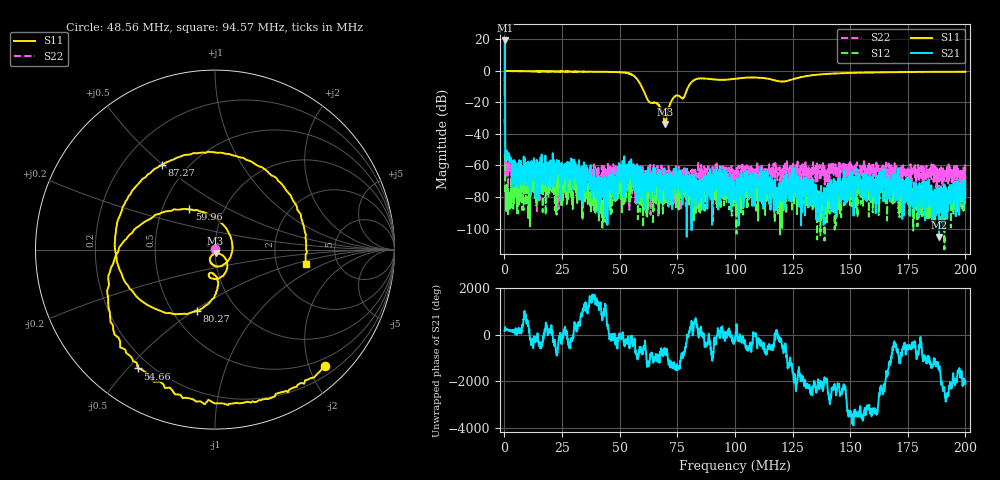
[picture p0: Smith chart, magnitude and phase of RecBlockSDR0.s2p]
! 19-Feb-26 2:09:13 PM
! E:\VNA_MEASUREMENTS\RECBLOCK\RECBLOCKSDR0.S2P
! CHANNEL.1
! TR.MEASUREMENT
! CORRECTED.DATA
# GHZ S RI R 50.0
! FREQ.GHZ  S11RE  S11IM  S21RE  S21IM  S12RE  S12IM  S22RE  S22IM
!; PortSelection: Port_12
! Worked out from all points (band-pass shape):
!   2000 points, 50 kHz to 200 MHz, reference 50 ohm
!   highest |S21| = 19.02 dB at 150 kHz (marker M1); lowest = -105.2 dB at 188.6 MHz (marker M2)
!   |S21| within 3 dB of the highest: 138.4 kHz to 159.9 kHz (21.57 kHz wide, 14.5 % of centre)
!   lowest |S11| = -33.8 dB at 69.77 MHz (marker M3), VSWR 1.04, Z = 50.3 - j2.03 ohm
!   |S11| at or under -10 dB: 70.41 kHz to 185.9 kHz (115.4 kHz wide, 90.1 % of centre); 59.49 MHz to 79.89 MHz (20.4 MHz wide, 29.3 % of centre)
!   |S22| runs from -96.1 to -30.6 dB; largest |S21 - S12| = 8.9
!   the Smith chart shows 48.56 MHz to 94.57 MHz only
!   S11 on the Smith chart (normalised r, x): 48.56 MHz: 0.36, -2.27; 54.66 MHz: 0.15, -0.53; 59.96 MHz: 0.68, +0.33; 80.27 MHz: 0.66, -0.51; 87.27 MHz: 0.36, +0.50; 94.57 MHz: 2.97, -0.65
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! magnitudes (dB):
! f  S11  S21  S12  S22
! 50 kHz  -8.5  -6.7  -52.5  -30.6
! 150 kHz  -16.0  19.0  -53.5  -36.1
! 1.35 MHz  -0.2  -52.6  -72.0  -64.2
! 5.351 MHz  -0.4  -68.2  -66.7  -58.5
! 21.86 MHz  -0.8  -72.2  -88.2  -64.7
! 33.46 MHz  -0.7  -70.4  -70.7  -63.8
! 41.26 MHz  -0.8  -80.7  -77.1  -65.8
! 48.56 MHz  -1.0  -80.3  -68.8  -60.6
! 54.66 MHz  -2.1  -61.1  -80.4  -64.4
! 59.96 MHz  -11.5  -76.1  -86.1  -60.0
! 66.77 MHz  -21.5  -64.2  -80.1  -91.7
! 69.77 MHz  -33.8  -66.2  -74.9  -68.1
! 73.17 MHz  -17.4  -78.9  -81.3  -67.2
! 80.27 MHz  -9.0  -70.7  -73.3  -66.4
! 87.27 MHz  -5.1  -66.6  -75.4  -63.5
! 94.57 MHz  -5.8  -71.8  -73.1  -63.0
! 100.1 MHz  -5.2  -77.3  -79.5  -68.7
! 133.4 MHz  -2.9  -84.5  -73.7  -61.7
! 163.9 MHz  -1.1  -69.0  -74.5  -60.3
! 166.7 MHz  -1.1  -67.1  -72.0  -58.7
! 188.6 MHz  -0.8  -105.2  -94.1  -81.3
! 200 MHz  -0.8  -70.3  -80.3  -71.1
